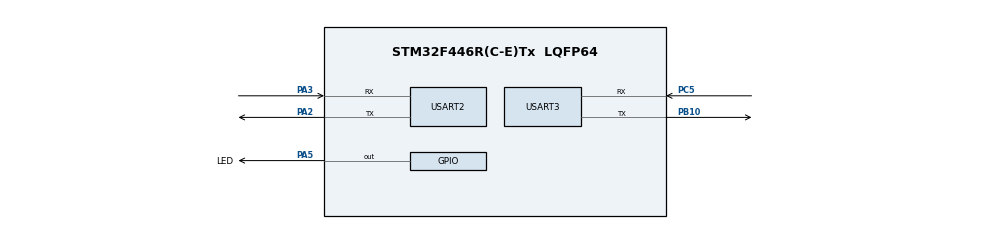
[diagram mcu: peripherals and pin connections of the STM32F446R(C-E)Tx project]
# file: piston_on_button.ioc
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Mcu.Family=STM32F4
Mcu.Name=STM32F446R(C-E)Tx
Mcu.Package=LQFP64
NVIC.PriorityGroup=NVIC_PRIORITYGROUP_4
NVIC.USART3_IRQn=true\:0\:0\:false\:false\:true\:true\:true\:true
PA2.Mode=Asynchronous
PA2.Signal=USART2_TX
PA3.Mode=Asynchronous
PA3.Signal=USART2_RX
PA5.GPIO_Label=LED
PA5.Signal=GPIO_Output
PB10.Mode=Asynchronous
PB10.Signal=USART3_TX
PC5.Mode=Asynchronous
PC5.Signal=USART3_RX
ProjectManager.HeapSize=0x200
ProjectManager.StackSize=0x400
ProjectManager.TargetToolchain=STM32CubeIDE
RCC.CortexFreq_Value=16000000
RCC.USBFreq_Value=96000000
RCC.VCOOutputFreq_Value=192000000
USART2.VirtualMode=VM_ASYNC
USART3.VirtualMode=VM_ASYNC
board=custom

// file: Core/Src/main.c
/* USER CODE BEGIN Header */
/**
 ******************************************************************************
 * @file           : main.c
 * @brief          : Main program body
 ******************************************************************************
 * @attention
 *
 * Copyright (c) 2026 STMicroelectronics.
 * All rights reserved.
 *
 * This software is licensed under terms that can be found in the LICENSE file
 * in the root directory of this software component.
 * If no LICENSE file comes with this software, it is provided AS-IS.
 *
 ******************************************************************************
 */
/* USER CODE END Header */
#include "main.h"

/* USER CODE BEGIN Includes */
#include<stdio.h>
#include<string.h>
#include<stdbool.h>
/* USER CODE END Includes */

UART_HandleTypeDef huart2;
UART_HandleTypeDef huart3;

void SystemClock_Config(void);
static void MX_GPIO_Init(void);
static void MX_USART2_UART_Init(void);
static void MX_USART3_UART_Init(void);

/* USER CODE BEGIN 0 */
//ps5 crc variables
uint8_t rx_byte;
volatile uint8_t rx_count=0;
volatile bool ready= false;
volatile uint8_t idx=0;
uint8_t packet_buffer[11];

//piston
volatile bool Pistonready =false;
volatile bool ledParameter=false;
uint32_t last=0;

//data
int8_t LX;
int8_t LY;
int8_t RX;
int8_t RY;
uint8_t L2,R2;
uint16_t buttons;
uint16_t prev_buttons;

#define EVENT_QUEUE_SIZE 8
volatile uint16_t event_queue[8];
volatile uint8_t event_head =0;
volatile uint8_t event_tail =0;
volatile uint16_t prev_buttons_isr = 0;

#define NUM_BUTTONS 10
volatile uint8_t butt[NUM_BUTTONS] = {0};

static inline void enqueue_button_event(uint16_t pressed)
{
	uint8_t next = (event_head + 1) % EVENT_QUEUE_SIZE;

	if (next != event_tail) {   // queue not full
		event_queue[event_head] = pressed;
		event_head = next;
	}
}

bool check_packet(uint8_t *buf){
	if(buf[0]!=0xAA || buf[10]!=0x55) return false;
	uint8_t sum=0;
	for(int i=0;i<=8;i++) sum+=buf[i];
	return ((uint8_t)(0-sum)==buf[9]);
}

void HAL_UART_RxCpltCallback(UART_HandleTypeDef *huart)
{
	if (huart->Instance == USART3)
	{
		if (idx == 0)
		{
			if (rx_byte == 0xAA)
			{
				packet_buffer[idx++] = rx_byte;
			}
		}
		else
		{
			packet_buffer[idx++] = rx_byte;

			if (idx == 11)
			{
				if (check_packet(packet_buffer))
				{
					LX = (int8_t)packet_buffer[1];
					LY = (int8_t)packet_buffer[2];
					RX = (int8_t)packet_buffer[3];
					RY = (int8_t)packet_buffer[4];
					R2 = packet_buffer[5];
					L2 = packet_buffer[6];

					uint16_t buttons =
							packet_buffer[7] |
							(packet_buffer[8] << 8);

					uint16_t pressed = buttons & ~prev_buttons;

					if (pressed)
						enqueue_button_event(pressed);

					prev_buttons = buttons;

					//HAL_GPIO_TogglePin(GPIOA, GPIO_PIN_5);
				}

				idx = 0;
			}
		}

		HAL_UART_Receive_IT(&huart3, &rx_byte, 1);
	}
}

void process_packet(void){
	if(ready){
		uint8_t local_buf[11];
		__disable_irq();
		memcpy(local_buf, packet_buffer, 11);
		ready = false;
		__enable_irq();

		if(check_packet(local_buf)){
			LX = (int8_t)local_buf[1];
			LY = (int8_t)local_buf[2];
			RX = (int8_t)local_buf[3];
			RY = (int8_t)local_buf[4];
			R2 = local_buf[5];
			L2 = local_buf[6];
		}
	}
}

void process_button_events(void)
{
	while (event_tail != event_head) {

		uint16_t evt = event_queue[event_tail];
		event_tail = (event_tail + 1) % EVENT_QUEUE_SIZE;

		if(evt & (1 << 0)) {
			printf("Cross\r\n");
			Pistonready=true;
			ledParameter=true;
			last=HAL_GetTick();
		}
		if(evt & (1 << 1)) printf("Circle\r\n");
		if(evt & (1 << 2)) printf("Triangle\r\n");
		if(evt & (1 << 3)) printf("Square\r\n");
		if(evt & (1 << 4)) printf("L1\r\n");
		if(evt & (1 << 5)) printf("R1\r\n");
		if(evt & (1 << 6)) printf("Up\r\n");
		if(evt & (1 << 7)) printf("Down\r\n");
		if(evt & (1 << 8)) printf("Left\r\n");
		if(evt & (1 << 9)) printf("Right\r\n");
	}
}

void print_pots(void)
{
	printf("LX:%d  LY:%d  RX:%d  RY:%d  L2:%d  R2:%d\r\n", LX, LY, RX, RY, L2, R2);
}

// Send printf to uart1
int _write(int fd, char* ptr, int len) {
	HAL_StatusTypeDef hstatus;

	if (fd == 1 || fd == 2) {
		hstatus = HAL_UART_Transmit(&huart2, (uint8_t *) ptr, len, HAL_MAX_DELAY);
		if (hstatus == HAL_OK)
			return len;
		else
			return -1;
	}
	return -1;
}

void Actuate(bool LED){
	if(LED==true) {
		//printf("led high\r\n");
		HAL_GPIO_WritePin(LED_GPIO_Port,LED_Pin, 1);
	}
	else {
		//printf("led low\r\n");
		HAL_GPIO_WritePin(LED_GPIO_Port, LED_Pin, 0);
	}
}

/* USER CODE END 0 */

int main(void)
{

	/* MCU Configuration--------------------------------------------------------*/

	/* Reset of all peripherals, Initializes the Flash interface and the Systick. */
	HAL_Init();

	/* Configure the system clock */
	SystemClock_Config();

	/* Initialize all configured peripherals */
	MX_GPIO_Init();
	MX_USART2_UART_Init();
	MX_USART3_UART_Init();
	/* USER CODE BEGIN 2 */
	HAL_NVIC_SetPriority(USART3_IRQn, 0, 0);
	HAL_NVIC_EnableIRQ(USART3_IRQn);
	HAL_UART_Receive_IT(&huart3, &rx_byte, 1);
	/* USER CODE END 2 */

	/* Infinite loop */
	/* USER CODE BEGIN WHILE */
	while (1)
	{
		process_button_events();
		if(Pistonready){
			if(HAL_GetTick()-last>=50){
				printf("led signal turned off\r\n");
				Pistonready=false;
				ledParameter=false;
			}
		}

		Actuate(ledParameter);

		//HAL_GPIO_WritePin(LED_GPIO_Port, LED_Pin, 1);
		/* USER CODE END WHILE */

	}
}

void SystemClock_Config(void)
{
	RCC_OscInitTypeDef RCC_OscInitStruct = {0};
	RCC_ClkInitTypeDef RCC_ClkInitStruct = {0};

	/** Configure the main internal regulator output voltage
	 */
	__HAL_RCC_PWR_CLK_ENABLE();
	__HAL_PWR_VOLTAGESCALING_CONFIG(PWR_REGULATOR_VOLTAGE_SCALE3);

	/** Initializes the RCC Oscillators according to the specified parameters
	 * in the RCC_OscInitTypeDef structure.
	 */
	RCC_OscInitStruct.OscillatorType = RCC_OSCILLATORTYPE_HSI;
	RCC_OscInitStruct.HSIState = RCC_HSI_ON;
	RCC_OscInitStruct.HSICalibrationValue = RCC_HSICALIBRATION_DEFAULT;
	RCC_OscInitStruct.PLL.PLLState = RCC_PLL_NONE;
	if (HAL_RCC_OscConfig(&RCC_OscInitStruct) != HAL_OK)
	{
		Error_Handler();
	}

	/** Initializes the CPU, AHB and APB buses clocks
	 */
	RCC_ClkInitStruct.ClockType = RCC_CLOCKTYPE_HCLK|RCC_CLOCKTYPE_SYSCLK
			|RCC_CLOCKTYPE_PCLK1|RCC_CLOCKTYPE_PCLK2;
	RCC_ClkInitStruct.SYSCLKSource = RCC_SYSCLKSOURCE_HSI;
	RCC_ClkInitStruct.AHBCLKDivider = RCC_SYSCLK_DIV1;
	RCC_ClkInitStruct.APB1CLKDivider = RCC_HCLK_DIV1;
	RCC_ClkInitStruct.APB2CLKDivider = RCC_HCLK_DIV1;

	if (HAL_RCC_ClockConfig(&RCC_ClkInitStruct, FLASH_LATENCY_0) != HAL_OK)
	{
		Error_Handler();
	}
}

static void MX_USART2_UART_Init(void)
{

	huart2.Instance = USART2;
	huart2.Init.BaudRate = 115200;
	huart2.Init.WordLength = UART_WORDLENGTH_8B;
	huart2.Init.StopBits = UART_STOPBITS_1;
	huart2.Init.Parity = UART_PARITY_NONE;
	huart2.Init.Mode = UART_MODE_TX_RX;
	huart2.Init.HwFlowCtl = UART_HWCONTROL_NONE;
	huart2.Init.OverSampling = UART_OVERSAMPLING_16;
	if (HAL_UART_Init(&huart2) != HAL_OK)
	{
		Error_Handler();
	}

}

static void MX_USART3_UART_Init(void)
{

	huart3.Instance = USART3;
	huart3.Init.BaudRate = 115200;
	huart3.Init.WordLength = UART_WORDLENGTH_8B;
	huart3.Init.StopBits = UART_STOPBITS_1;
	huart3.Init.Parity = UART_PARITY_NONE;
	huart3.Init.Mode = UART_MODE_TX_RX;
	huart3.Init.HwFlowCtl = UART_HWCONTROL_NONE;
	huart3.Init.OverSampling = UART_OVERSAMPLING_16;
	if (HAL_UART_Init(&huart3) != HAL_OK)
	{
		Error_Handler();
	}

}

static void MX_GPIO_Init(void)
{
	GPIO_InitTypeDef GPIO_InitStruct = {0};

	/* GPIO Ports Clock Enable */
	__HAL_RCC_GPIOA_CLK_ENABLE();
	__HAL_RCC_GPIOC_CLK_ENABLE();
	__HAL_RCC_GPIOB_CLK_ENABLE();

	/*Configure GPIO pin Output Level */
	HAL_GPIO_WritePin(LED_GPIO_Port, LED_Pin, GPIO_PIN_RESET);

	/*Configure GPIO pin : LED_Pin */
	GPIO_InitStruct.Pin = LED_Pin;
	GPIO_InitStruct.Mode = GPIO_MODE_OUTPUT_PP;
	GPIO_InitStruct.Pull = GPIO_NOPULL;
	GPIO_InitStruct.Speed = GPIO_SPEED_FREQ_LOW;
	HAL_GPIO_Init(LED_GPIO_Port, &GPIO_InitStruct);

}

void Error_Handler(void)
{
	__disable_irq();
	while (1)
	{
	}
}
